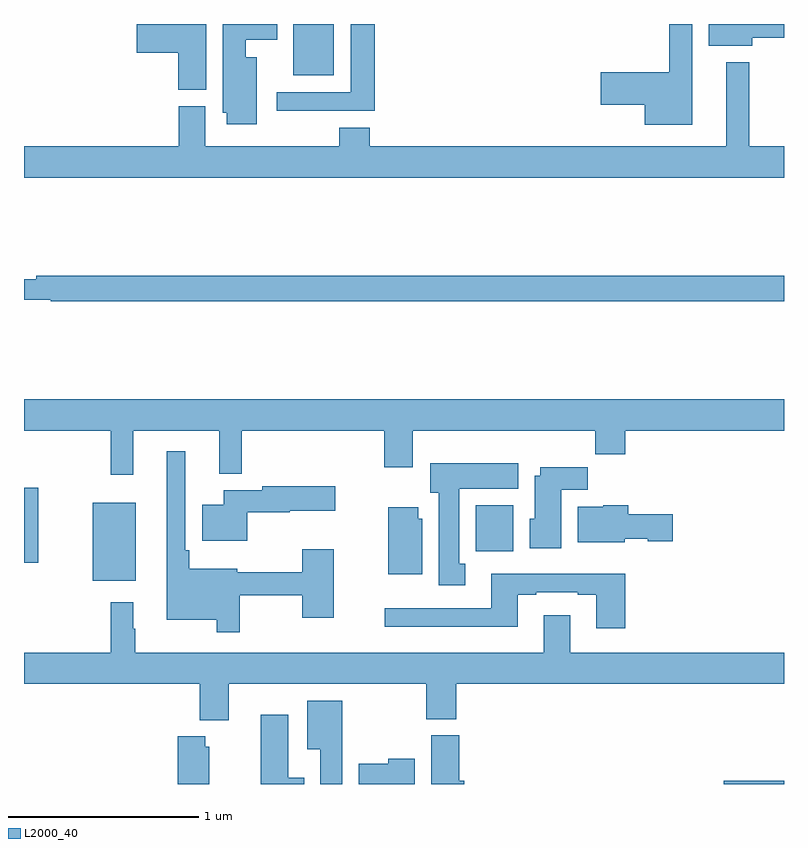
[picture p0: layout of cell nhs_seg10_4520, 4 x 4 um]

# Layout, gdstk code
import gdstk
lib = gdstk.Library(unit=1e-6, precision=1e-09)
def R(c, l, rs):  # rectangles x0, y0, x1, y1
    for r in rs: c.add(gdstk.rectangle(r[:2], r[2:], *l))
def P(c, l, *ps):  # polygons
    for p in ps: c.add(gdstk.Polygon(p, *l))
L2000_40 = (2000, 40)

nhs_seg10_4520 = lib.new_cell('nhs_seg10_4520')
R(nhs_seg10_4520, L2000_40, [(372.684,1254.5,373,1254.518), (369.362,1255.571,369.589,1255.981), (369,1255.665,369.076,1256.059), (371.378,1255.724,371.575,1255.966), (370.418,1258.229,370.63,1258.5)])
P(nhs_seg10_4520, L2000_40, [(372.517,1258.5),(372.396,1258.5),(372.396,1258.247),(372.036,1258.247),(372.036,1258.076),(372.266,1258.076),(372.266,1257.971),(372.517,1257.971)],
  [(370.225,1258.324),(370.168,1258.324),(370.168,1258.418),(370.333,1258.418),(370.333,1258.5),(370.046,1258.5),(370.046,1258.032),(370.067,1258.032),(370.067,1257.972),(370.225,1257.972)],
  [(369.958,1258.5),(369.594,1258.5),(369.594,1258.349),(369.812,1258.349),(369.812,1258.153),(369.958,1258.153)],
  [(372.832,1258.427),(373,1258.427),(373,1258.5),(372.605,1258.5),(372.605,1258.385),(372.832,1258.385)],
  [(370.847,1258.5),(370.721,1258.5),(370.721,1258.14),(370.329,1258.14),(370.329,1258.043),(370.847,1258.043)],
  [(373,1257.856),(372.817,1257.856),(372.817,1258.3),(372.695,1258.3),(372.695,1257.856),(370.82,1257.856),(370.82,1257.955),(370.66,1257.955),(370.66,1257.856),(369.955,1257.856),(369.955,1258.068),(369.815,1258.068),(369.815,1257.856),(369,1257.856),(369,1257.692),(373,1257.692)],
  [(373,1257.176),(369.064,1257.176),(369.064,1257.157),(369,1257.157),(369,1257.048),(369.14,1257.048),(369.14,1257.04),(373,1257.04)],
  [(369.575,1256.36),(370.028,1256.36),(370.028,1256.132),(370.145,1256.132),(370.145,1256.36),(370.895,1256.36),(370.895,1256.166),(371.047,1256.166),(371.047,1256.36),(372.007,1256.36),(372.007,1256.236),(372.164,1256.236),(372.164,1256.36),(373,1256.36),(373,1256.524),(369,1256.524),(369,1256.36),(369.457,1256.36),(369.457,1256.127),(369.575,1256.127)],
  [(370.135,1255.494),(370.465,1255.494),(370.465,1255.374),(370.63,1255.374),(370.63,1255.735),(370.465,1255.735),(370.465,1255.615),(370.123,1255.615),(370.123,1255.633),(369.869,1255.633),(369.869,1255.729),(369.849,1255.729),(369.849,1256.251),(369.752,1256.251),(369.752,1255.364),(370.014,1255.364),(370.014,1255.299),(370.135,1255.299)],
  [(371.323,1255.658),(371.29,1255.658),(371.29,1256.054),(371.602,1256.054),(371.602,1256.188),(371.138,1256.188),(371.138,1256.034),(371.183,1256.034),(371.183,1255.545),(371.323,1255.545)],
  [(371.827,1256.048),(371.966,1256.048),(371.966,1256.167),(371.717,1256.167),(371.717,1256.122),(371.687,1256.122),(371.687,1255.896),(371.663,1255.896),(371.663,1255.742),(371.827,1255.742)],
  [(370.174,1255.93),(370.398,1255.93),(370.398,1255.937),(370.639,1255.937),(370.639,1256.067),(370.254,1256.067),(370.254,1256.047),(370.052,1256.047),(370.052,1255.969),(369.938,1255.969),(369.938,1255.781),(370.174,1255.781)],
  [(372.162,1255.79),(372.282,1255.79),(372.282,1255.778),(372.415,1255.778),(372.415,1255.92),(372.179,1255.92),(372.179,1255.966),(372.048,1255.966),(372.048,1255.96),(371.915,1255.96),(371.915,1255.772),(372.162,1255.772)],
  [(371.095,1255.896),(371.074,1255.896),(371.074,1255.957),(370.916,1255.957),(370.916,1255.604),(371.095,1255.604)],
  [(372.164,1255.606),(371.459,1255.606),(371.459,1255.425),(370.899,1255.425),(370.899,1255.328),(371.599,1255.328),(371.599,1255.497),(371.695,1255.497),(371.695,1255.509),(371.915,1255.509),(371.915,1255.497),(372.011,1255.497),(372.011,1255.32),(372.164,1255.32)],
  [(370.078,1255.028),(371.116,1255.028),(371.116,1254.841),(371.276,1254.841),(371.276,1255.028),(373,1255.028),(373,1255.192),(371.875,1255.192),(371.875,1255.387),(371.735,1255.387),(371.735,1255.192),(369.586,1255.192),(369.586,1255.316),(369.574,1255.316),(369.574,1255.456),(369.457,1255.456),(369.457,1255.192),(369,1255.192),(369,1255.028),(369.926,1255.028),(369.926,1254.836),(370.078,1254.836)],
  [(370.675,1254.937),(370.49,1254.937),(370.49,1254.683),(370.559,1254.683),(370.559,1254.5),(370.675,1254.5)],
  [(370.474,1254.532),(370.39,1254.532),(370.39,1254.865),(370.247,1254.865),(370.247,1254.5),(370.474,1254.5)],
  [(371.317,1254.518),(371.291,1254.518),(371.291,1254.756),(371.144,1254.756),(371.144,1254.5),(371.317,1254.5)],
  [(369.976,1254.697),(369.954,1254.697),(369.954,1254.751),(369.809,1254.751),(369.809,1254.5),(369.976,1254.5)],
  [(371.056,1254.634),(370.917,1254.634),(370.917,1254.607),(370.763,1254.607),(370.763,1254.5),(371.056,1254.5)])

lib.write_gds('nhs_seg10_4520.gds')
